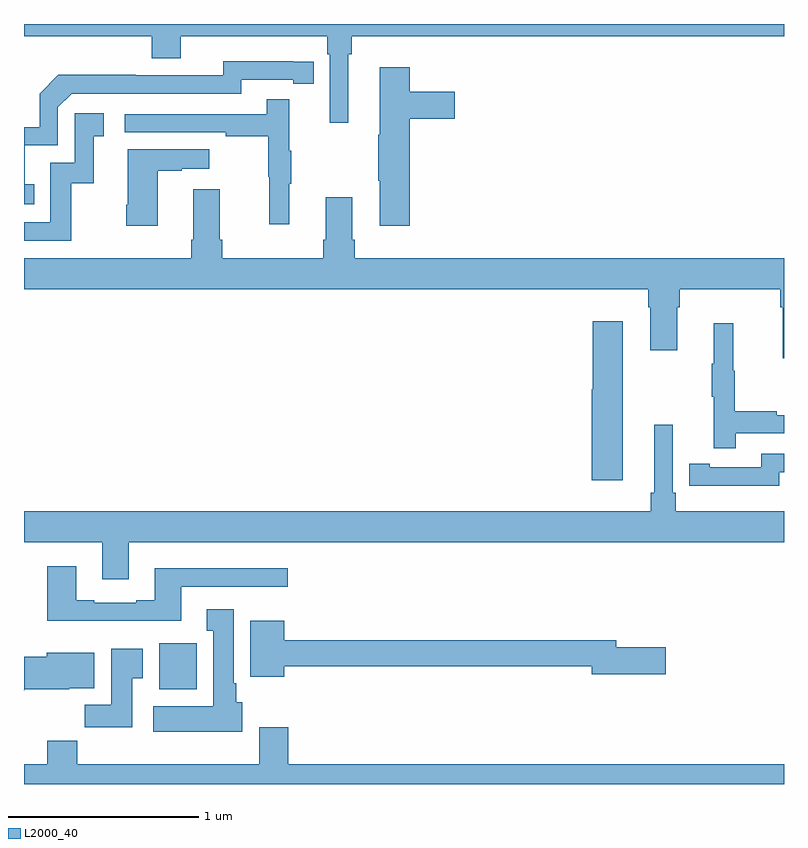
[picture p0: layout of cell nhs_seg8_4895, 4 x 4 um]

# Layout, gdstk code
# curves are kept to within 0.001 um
import gdstk
lib = gdstk.Library(unit=1e-6, precision=1e-09)
def R(c, l, rs):  # rectangles x0, y0, x1, y1
    for r in rs: c.add(gdstk.rectangle(r[:2], r[2:], *l))
def P(c, l, *ps):  # polygons
    for p in ps: c.add(gdstk.Polygon(p, *l))
L2000_40 = (2000, 40)

nhs_seg8_4895 = lib.new_cell('nhs_seg8_4895')
R(nhs_seg8_4895, L2000_40, [(407.711,1110.398,407.908,1110.64)])
P(nhs_seg8_4895, L2000_40, [(407,1113.836),(407.672,1113.836),(407.672,1113.719),(407.824,1113.719),(407.824,1113.836),(408.596,1113.836),(408.596,1113.74),(408.609,1113.74),(408.609,1113.381),(408.706,1113.381),(408.706,1113.74),(408.725,1113.74),(408.725,1113.836),(411,1113.836),(411,1113.9),(407,1113.9)],
  [(407.054,1113.057),(407.005,1113.057),(407.005,1113.261),(407.178,1113.261),(407.178,1113.462),(407.25,1113.534),(408.144,1113.534),(408.144,1113.606),(408.416,1113.606),(408.416,1113.586),(408.524,1113.586),(408.524,1113.702),(408.048,1113.703),(408.048,1113.63),(407.588,1113.63),(407.588,1113.632),(407.18,1113.632),(407.082,1113.534),(407.082,1113.357),(407,1113.357),(407,1112.952),(407.054,1112.952)],
  [(409.031,1113.401),(409.267,1113.401),(409.267,1113.543),(409.031,1113.543),(409.031,1113.673),(408.872,1113.673),(408.872,1113.317),(408.865,1113.317),(408.865,1113.076),(408.872,1113.076),(408.872,1112.838),(409.031,1112.838)],
  [(408.395,1113.059),(408.406,1113.059),(408.406,1113.233),(408.395,1113.233),(408.395,1113.505),(408.277,1113.505),(408.277,1113.426),(407.529,1113.426),(407.529,1113.33),(408.061,1113.33),(408.061,1113.31),(408.285,1113.31),(408.285,1113.096),(408.292,1113.096),(408.292,1112.847),(408.395,1112.847)],
  [(407.248,1113.063),(407.366,1113.063),(407.366,1113.309),(407.419,1113.309),(407.419,1113.43),(407.268,1113.43),(407.268,1113.171),(407.139,1113.171),(407.139,1112.856),(407,1112.856),(407,1112.76),(407.248,1112.76)],
  [(407.704,1113.127),(407.831,1113.127),(407.831,1113.137),(407.974,1113.137),(407.974,1113.241),(407.546,1113.241),(407.546,1112.95),(407.539,1112.95),(407.539,1112.838),(407.704,1112.838)],
  [(408.587,1112.989),(408.587,1112.764),(408.575,1112.764),(408.575,1112.668),(408.044,1112.668),(408.044,1112.764),(408.031,1112.764),(408.031,1113.031),(407.891,1113.031),(407.891,1112.764),(407.879,1112.764),(407.879,1112.668),(407,1112.668),(407,1112.504),(410.285,1112.504),(410.285,1112.408),(410.297,1112.408),(410.297,1112.184),(410.437,1112.184),(410.437,1112.408),(410.45,1112.408),(410.45,1112.504),(410.981,1112.504),(410.981,1112.408),(410.993,1112.408),(410.993,1112.142),(411,1112.142),(411,1112.668),(408.74,1112.668),(408.74,1112.764),(408.727,1112.764),(408.727,1112.989)],
  [(410.152,1112.335),(409.994,1112.335),(409.994,1111.977),(409.988,1111.977),(409.988,1111.5),(410.152,1111.5)],
  [(410.747,1111.746),(411,1111.746),(411,1111.842),(410.963,1111.842),(410.963,1111.862),(410.74,1111.862),(410.74,1112.076),(410.732,1112.076),(410.732,1112.326),(410.63,1112.326),(410.63,1112.113),(410.619,1112.113),(410.619,1111.939),(410.63,1111.939),(410.63,1111.668),(410.747,1111.668)],
  [(407.551,1111.172),(411,1111.172),(411,1111.336),(410.429,1111.336),(410.429,1111.432),(410.415,1111.432),(410.415,1111.792),(410.318,1111.792),(410.318,1111.432),(410.299,1111.432),(410.299,1111.336),(407,1111.336),(407,1111.172),(407.411,1111.172),(407.411,1110.978),(407.551,1110.978)],
  [(410.976,1111.542),(411,1111.542),(411,1111.638),(410.88,1111.638),(410.88,1111.566),(410.608,1111.566),(410.608,1111.586),(410.5,1111.586),(410.5,1111.47),(410.608,1111.47),(410.608,1111.469),(410.976,1111.469)],
  [(407.827,1110.939),(408.388,1110.939),(408.388,1111.036),(407.687,1111.036),(407.687,1110.868),(407.591,1110.868),(407.591,1110.855),(407.371,1110.855),(407.371,1110.868),(407.275,1110.868),(407.275,1111.045),(407.123,1111.045),(407.123,1110.758),(407.827,1110.758)],
  [(408.148,1110.33),(408.118,1110.33),(408.118,1110.43),(408.103,1110.43),(408.103,1110.82),(407.963,1110.82),(407.963,1110.707),(407.996,1110.707),(407.996,1110.31),(407.679,1110.31),(407.679,1110.176),(408.148,1110.176)],
  [(408.37,1110.52),(409.988,1110.52),(409.988,1110.478),(410.377,1110.478),(410.377,1110.62),(410.116,1110.62),(410.116,1110.656),(408.37,1110.656),(408.37,1110.76),(408.191,1110.76),(408.191,1110.464),(408.37,1110.464)],
  [(407.569,1110.457),(407.626,1110.457),(407.626,1110.613),(407.459,1110.613),(407.459,1110.316),(407.32,1110.316),(407.32,1110.198),(407.569,1110.198)],
  [(407.002,1110.398),(407.238,1110.398),(407.238,1110.404),(407.371,1110.404),(407.371,1110.592),(407.12,1110.592),(407.12,1110.569),(407,1110.569),(407,1110.391),(407.002,1110.391)],
  [(411,1110.004),(408.392,1110.004),(408.392,1110.199),(408.239,1110.199),(408.239,1110.004),(407.279,1110.004),(407.279,1110.128),(407.123,1110.128),(407.123,1110.004),(407,1110.004),(407,1109.9),(411,1109.9)])

lib.write_gds('nhs_seg8_4895.gds')
